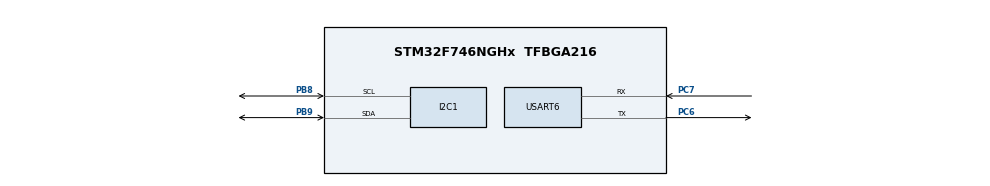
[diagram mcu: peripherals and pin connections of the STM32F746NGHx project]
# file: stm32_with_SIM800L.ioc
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Dma.I2C1_RX.0.Direction=DMA_PERIPH_TO_MEMORY
Dma.I2C1_RX.0.FIFOMode=DMA_FIFOMODE_DISABLE
Dma.I2C1_RX.0.Instance=DMA1_Stream0
Dma.I2C1_RX.0.MemDataAlignment=DMA_MDATAALIGN_BYTE
Dma.I2C1_RX.0.MemInc=DMA_MINC_ENABLE
Dma.I2C1_RX.0.Mode=DMA_NORMAL
Dma.I2C1_RX.0.PeriphDataAlignment=DMA_PDATAALIGN_BYTE
Dma.I2C1_RX.0.PeriphInc=DMA_PINC_DISABLE
Dma.I2C1_RX.0.Priority=DMA_PRIORITY_LOW
Dma.I2C1_TX.1.Direction=DMA_MEMORY_TO_PERIPH
Dma.I2C1_TX.1.FIFOMode=DMA_FIFOMODE_DISABLE
Dma.I2C1_TX.1.Instance=DMA1_Stream6
Dma.I2C1_TX.1.MemDataAlignment=DMA_MDATAALIGN_BYTE
Dma.I2C1_TX.1.MemInc=DMA_MINC_ENABLE
Dma.I2C1_TX.1.Mode=DMA_NORMAL
Dma.I2C1_TX.1.PeriphDataAlignment=DMA_PDATAALIGN_BYTE
Dma.I2C1_TX.1.PeriphInc=DMA_PINC_DISABLE
Dma.I2C1_TX.1.Priority=DMA_PRIORITY_LOW
Dma.Request0=I2C1_RX
Dma.Request1=I2C1_TX
FREERTOS.INCLUDE_vTaskDelayUntil=1
FREERTOS.Tasks01=defaultTask,0,128,StartDefaultTask,Default,NULL,Dynamic,NULL,NULL
Mcu.Family=STM32F7
Mcu.Name=STM32F746NGHx
Mcu.Package=TFBGA216
NVIC.DMA1_Stream0_IRQn=true\:5\:0\:false\:false\:true\:true\:false\:true\:true
NVIC.DMA1_Stream6_IRQn=true\:5\:0\:false\:false\:true\:true\:false\:true\:true
NVIC.I2C1_ER_IRQn=true\:5\:0\:false\:false\:true\:true\:true\:true\:true
NVIC.I2C1_EV_IRQn=true\:5\:0\:false\:false\:true\:true\:true\:true\:true
NVIC.PriorityGroup=NVIC_PRIORITYGROUP_4
NVIC.USART6_IRQn=true\:5\:0\:false\:false\:true\:true\:true\:true\:true
PB8.Mode=I2C
PB8.Signal=I2C1_SCL
PB9.Mode=I2C
PB9.Signal=I2C1_SDA
PC6.Mode=Asynchronous
PC6.Signal=USART6_TX
PC7.Mode=Asynchronous
PC7.Signal=USART6_RX
ProjectManager.HeapSize=0x200
ProjectManager.StackSize=0x400
ProjectManager.TargetToolchain=STM32CubeIDE
RCC.HSE_VALUE=25000000
RCC.HSI_VALUE=16000000
RCC.LSE_VALUE=32768
RCC.USBFreq_Value=96000000
RCC.VCOOutputFreq_Value=192000000
USART6.VirtualMode-Asynchronous=VM_ASYNC
VP_FREERTOS_VS_CMSIS_V1.Mode=CMSIS_V1
board=custom

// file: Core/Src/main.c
/* USER CODE BEGIN Header */
/**
  ******************************************************************************
  * @file           : main.c
  * @brief          : Main program body
  ******************************************************************************
  * @attention
  *
  * Copyright (c) 2023 STMicroelectronics.
  * All rights reserved.
  *
  * This software is licensed under terms that can be found in the LICENSE file
  * in the root directory of this software component.
  * If no LICENSE file comes with this software, it is provided AS-IS.
  *
  ******************************************************************************
  */
/* USER CODE END Header */
#include "main.h"
#include "cmsis_os.h"

/* USER CODE BEGIN Includes */
#include "lcd_hd44780_i2c.h"
#include "stdio.h"
#include "string.h"
/* USER CODE END Includes */

I2C_HandleTypeDef hi2c1;
DMA_HandleTypeDef hdma_i2c1_rx;
DMA_HandleTypeDef hdma_i2c1_tx;

UART_HandleTypeDef huart6;

osThreadId defaultTaskHandle;

void SystemClock_Config(void);
static void MX_GPIO_Init(void);
static void MX_DMA_Init(void);
static void MX_I2C1_Init(void);
static void MX_USART6_UART_Init(void);
void StartDefaultTask(void const * argument);

int main(void)
{

  /* MCU Configuration--------------------------------------------------------*/

  /* Reset of all peripherals, Initializes the Flash interface and the Systick. */
  HAL_Init();

  /* Configure the system clock */
  SystemClock_Config();

  /* Initialize all configured peripherals */
  MX_GPIO_Init();
  MX_DMA_Init();
  MX_I2C1_Init();
  MX_USART6_UART_Init();

  /* Create the thread(s) */
  /* definition and creation of defaultTask */
  osThreadDef(defaultTask, StartDefaultTask, osPriorityNormal, 0, 128);
  defaultTaskHandle = osThreadCreate(osThread(defaultTask), NULL);

  /* Start scheduler */
  osKernelStart();
  /* We should never get here as control is now taken by the scheduler */
  /* Infinite loop */
  while (1)
  {

  }
}

void SystemClock_Config(void)
{
  RCC_OscInitTypeDef RCC_OscInitStruct = {0};
  RCC_ClkInitTypeDef RCC_ClkInitStruct = {0};

  /** Configure the main internal regulator output voltage
  */
  __HAL_RCC_PWR_CLK_ENABLE();
  __HAL_PWR_VOLTAGESCALING_CONFIG(PWR_REGULATOR_VOLTAGE_SCALE3);

  /** Initializes the RCC Oscillators according to the specified parameters
  * in the RCC_OscInitTypeDef structure.
  */
  RCC_OscInitStruct.OscillatorType = RCC_OSCILLATORTYPE_HSI;
  RCC_OscInitStruct.HSIState = RCC_HSI_ON;
  RCC_OscInitStruct.HSICalibrationValue = RCC_HSICALIBRATION_DEFAULT;
  RCC_OscInitStruct.PLL.PLLState = RCC_PLL_NONE;
  if (HAL_RCC_OscConfig(&RCC_OscInitStruct) != HAL_OK)
  {
    Error_Handler();
  }

  /** Initializes the CPU, AHB and APB buses clocks
  */
  RCC_ClkInitStruct.ClockType = RCC_CLOCKTYPE_HCLK|RCC_CLOCKTYPE_SYSCLK
                              |RCC_CLOCKTYPE_PCLK1|RCC_CLOCKTYPE_PCLK2;
  RCC_ClkInitStruct.SYSCLKSource = RCC_SYSCLKSOURCE_HSI;
  RCC_ClkInitStruct.AHBCLKDivider = RCC_SYSCLK_DIV1;
  RCC_ClkInitStruct.APB1CLKDivider = RCC_HCLK_DIV1;
  RCC_ClkInitStruct.APB2CLKDivider = RCC_HCLK_DIV1;

  if (HAL_RCC_ClockConfig(&RCC_ClkInitStruct, FLASH_LATENCY_0) != HAL_OK)
  {
    Error_Handler();
  }
}

static void MX_I2C1_Init(void)
{

  hi2c1.Instance = I2C1;
  hi2c1.Init.Timing = 0x00303D5B;
  hi2c1.Init.OwnAddress1 = 0;
  hi2c1.Init.AddressingMode = I2C_ADDRESSINGMODE_7BIT;
  hi2c1.Init.DualAddressMode = I2C_DUALADDRESS_DISABLE;
  hi2c1.Init.OwnAddress2 = 0;
  hi2c1.Init.OwnAddress2Masks = I2C_OA2_NOMASK;
  hi2c1.Init.GeneralCallMode = I2C_GENERALCALL_DISABLE;
  hi2c1.Init.NoStretchMode = I2C_NOSTRETCH_DISABLE;
  if (HAL_I2C_Init(&hi2c1) != HAL_OK)
  {
    Error_Handler();
  }

  /** Configure Analogue filter
  */
  if (HAL_I2CEx_ConfigAnalogFilter(&hi2c1, I2C_ANALOGFILTER_ENABLE) != HAL_OK)
  {
    Error_Handler();
  }

  /** Configure Digital filter
  */
  if (HAL_I2CEx_ConfigDigitalFilter(&hi2c1, 0) != HAL_OK)
  {
    Error_Handler();
  }

}

static void MX_USART6_UART_Init(void)
{

  huart6.Instance = USART6;
  huart6.Init.BaudRate = 115200;
  huart6.Init.WordLength = UART_WORDLENGTH_8B;
  huart6.Init.StopBits = UART_STOPBITS_1;
  huart6.Init.Parity = UART_PARITY_NONE;
  huart6.Init.Mode = UART_MODE_TX_RX;
  huart6.Init.HwFlowCtl = UART_HWCONTROL_NONE;
  huart6.Init.OverSampling = UART_OVERSAMPLING_16;
  huart6.Init.OneBitSampling = UART_ONE_BIT_SAMPLE_DISABLE;
  huart6.AdvancedInit.AdvFeatureInit = UART_ADVFEATURE_NO_INIT;
  if (HAL_UART_Init(&huart6) != HAL_OK)
  {
    Error_Handler();
  }

}

static void MX_DMA_Init(void)
{

  /* DMA controller clock enable */
  __HAL_RCC_DMA1_CLK_ENABLE();

  /* DMA interrupt init */
  /* DMA1_Stream0_IRQn interrupt configuration */
  HAL_NVIC_SetPriority(DMA1_Stream0_IRQn, 5, 0);
  HAL_NVIC_EnableIRQ(DMA1_Stream0_IRQn);
  /* DMA1_Stream6_IRQn interrupt configuration */
  HAL_NVIC_SetPriority(DMA1_Stream6_IRQn, 5, 0);
  HAL_NVIC_EnableIRQ(DMA1_Stream6_IRQn);

}

static void MX_GPIO_Init(void)
{

  /* GPIO Ports Clock Enable */
  __HAL_RCC_GPIOB_CLK_ENABLE();
  __HAL_RCC_GPIOC_CLK_ENABLE();

}

void StartDefaultTask(void const * argument)
{
  /* USER CODE BEGIN 5 */
	// variables for SIM processes
	uint8_t buf[30] = {0};
	char mobile[] = "+36306583740";
	char pin[] = "1122";
	char msg[30];
	char cmd[30];

	// lcd initialization
    lcdInit(&hi2c1, (uint8_t)0x27, (uint8_t)4, (uint8_t)20);

    // Print text and home position 0,0
    lcdPrintStr((uint8_t*)"Welcome!", 8);

    // Set cursor at zero position of line 1
    lcdSetCursorPosition(0, 1);

    // Print text at cursor position
    lcdPrintStr((uint8_t*)":)", 2);
    vTaskDelay(2000);
    lcdDisplayClear();
    lcdPrintStr((uint8_t*)"SIM initialization", 18);
    lcdSetCursorPosition(0, 1);
    lcdPrintStr((uint8_t*)"started...", 10);
    //set flag for pin authentication
    uint8_t conflag=1;
    uint8_t pinflag=0;

    for (;;) {
        vTaskDelay(1000);

    	while(conflag){
    		sprintf(cmd,"AT\r\n");
    		HAL_UART_Transmit(&huart6,(uint8_t *)cmd,strlen(cmd),1000);
    		HAL_UART_Receive_IT (&huart6, buf, 30);
    		vTaskDelay(1000);

    		if(strstr((char *)buf,"OK")){
    			sprintf(msg,"SIM module connected");
    		    lcdDisplayClear();
    		    lcdSetCursorPosition(0, 0);
    		    lcdPrintStr((uint8_t *)msg, strlen(msg));
    		    conflag=0;
    			pinflag=1;
    		}
    		vTaskDelay(1000);
    		memset(buf,0,sizeof(buf));
    	}

    	while(pinflag){
			sprintf(msg,"PIN authentication..");
		    lcdDisplayClear();
		    lcdSetCursorPosition(0, 0);
		    lcdPrintStr((uint8_t *)msg, strlen(msg));
		    vTaskDelay(1000);
    	}
    }
  /* USER CODE END 5 */
}

void Error_Handler(void)
{
  __disable_irq();
  while (1)
  {
  }
}
